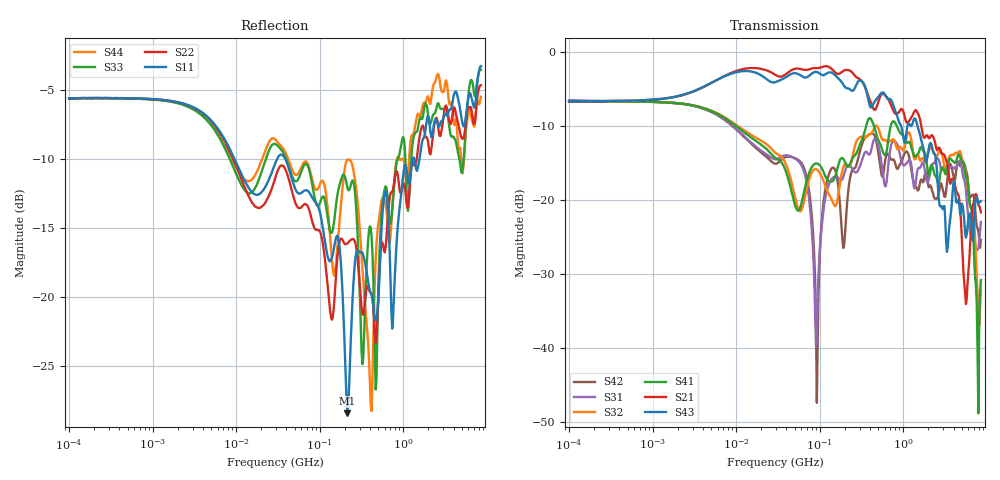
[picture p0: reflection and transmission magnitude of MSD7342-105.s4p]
# MHz S MA R 50
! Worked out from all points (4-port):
!   498 points, 100 kHz to 8.5 GHz, reference 50 ohm
!   strongest paths, dB at 100 kHz, 1.698 MHz, 29.49 MHz, 500.7 MHz, 8.5 GHz:
!     S43: -6.7, -6.1, -4.1, -6.1, -20.2
!     S21: -6.7, -6.1, -3.1, -6.8, -21.7
!     S41: -6.7, -6.9, -14.3, -11.8, -30.8
!     S32: -6.7, -6.8, -13.6, -10.2, -32.1
!     S31: -6.5, -6.8, -14.5, -12.5, -23.0
!     S42: -6.5, -6.9, -15.1, -13.5, -25.4
!   lowest |S11| = -28.5 dB at 215.1 MHz (marker M1), VSWR 1.08, Z = 53.1 - j2.41 ohm
!   |S11| at or under -10 dB: 9.585 MHz to 30.84 MHz (21.26 MHz wide, 105 % of centre); 38.78 MHz to 1.295 GHz (1.256 GHz wide, 188 % of centre); 1.354 GHz to 1.565 GHz (210.6 MHz wide, 14.4 % of centre)
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0.1  0.5259 3.9  0.4645 6.0  0.4724 -6.0  0.4629 -175.7
     0.4645 6.0  0.526 4.0  0.4631 -175.8  0.4726 -6.1
     0.4724 -6.0  0.4631 -175.8  0.5249 4.0  0.4644 5.9
     0.4629 -175.7  0.4726 -6.1  0.4644 5.9  0.5253 3.9
57.18745  0.2367 -30.8  0.7727 -9.3  0.18 57.6  0.08659 -150.8
          0.7727 -9.3  0.2099 -30.7  0.08431 -137.4  0.1841 55.7
          0.18 57.6  0.08431 -137.4  0.2731 -18.2  0.7048 -12.3
          0.08659 -150.8  0.1841 55.7  0.7048 -12.3  0.2853 -20.5
90.29583  0.2194 -44.3  0.7806 -17.3  0.01018 28.9  0.1768 69.9
          0.7806 -17.3  0.175 -39.6  0.1618 59.5  0.0147 -49.5
          0.01018 28.9  0.1618 59.5  0.219 -35.0  0.7355 -18.8
          0.1768 69.9  0.0147 -49.5  0.7355 -18.8  0.2447 -34.2
215.0626  0.03773 -36.9  0.7581 -48.2  0.171 18.3  0.1681 15.0
          0.7581 -48.2  0.1565 -28.9  0.1716 23.9  0.1019 50.3
          0.171 18.3  0.1716 23.9  0.249 -50.1  0.5696 -48.9
          0.1681 15.0  0.1019 50.3  0.5696 -48.9  0.315 -37.7
6173.935  0.5467 -110.6  0.03942 19.7  0.06488 -144.1  0.09904 -168.0
          0.03942 19.7  0.4872 -124.6  0.09935 -166.9  0.1083 -169.7
          0.06488 -144.1  0.09935 -166.9  0.5776 -96.5  0.0799 -56.5
          0.09904 -168.0  0.1083 -169.7  0.0799 -56.5  0.4804 -130.5
7244.201  0.4933 96.2  0.1057 -153.9  0.05142 106.5  0.0301 41.2
          0.1057 -153.9  0.4313 73.8  0.05524 32.8  0.08833 43.3
          0.05142 106.5  0.05524 32.8  0.5345 96.1  0.09324 -162.6
          0.0301 41.2  0.08833 43.3  0.09324 -162.6  0.4387 66.4
8500  0.6881 -58.7  0.08245 27.7  0.0711 -1.8  0.02879 5.3
      0.08245 27.7  0.5868 -70.1  0.02469 -40.0  0.0537 -69.5
      0.0711 -1.8  0.02469 -40.0  0.6687 -63.4  0.09804 27.4
      0.02879 5.3  0.0537 -69.5  0.09804 27.4  0.5323 -67.6
